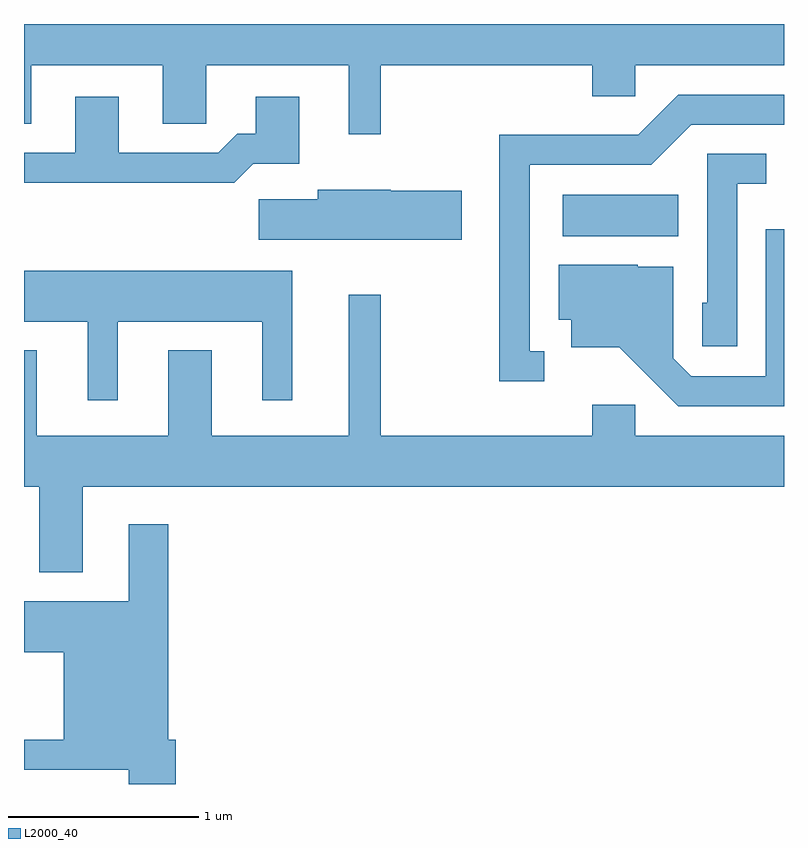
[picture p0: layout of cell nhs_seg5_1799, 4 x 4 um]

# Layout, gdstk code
import gdstk
lib = gdstk.Library(unit=1e-6, precision=1e-09)
def R(c, l, rs):  # rectangles x0, y0, x1, y1
    for r in rs: c.add(gdstk.rectangle(r[:2], r[2:], *l))
def P(c, l, *ps):  # polygons
    for p in ps: c.add(gdstk.Polygon(p, *l))
L2000_40 = (2000, 40)

nhs_seg5_1799 = lib.new_cell('nhs_seg5_1799')
R(nhs_seg5_1799, L2000_40, [(240.446,1506.956,241.054,1507.174)])
P(nhs_seg5_1799, L2000_40, [(239.489,1507.856),(240.601,1507.856),(240.601,1507.691),(240.829,1507.691),(240.829,1507.856),(241.611,1507.856),(241.611,1508.072),(237.611,1508.072),(237.611,1507.546),(237.649,1507.546),(237.649,1507.856),(238.341,1507.856),(238.341,1507.546),(238.569,1507.546),(238.569,1507.856),(239.321,1507.856),(239.321,1507.493),(239.489,1507.493)],
  [(240.348,1506.349),(240.274,1506.349),(240.274,1507.331),(240.912,1507.331),(241.122,1507.541),(241.611,1507.541),(241.611,1507.699),(241.054,1507.699),(240.844,1507.489),(240.111,1507.489),(240.111,1506.191),(240.348,1506.191)],
  [(238.817,1507.336),(239.059,1507.336),(239.059,1507.689),(238.831,1507.689),(238.831,1507.494),(238.734,1507.494),(238.634,1507.394),(238.109,1507.394),(238.109,1507.689),(237.881,1507.689),(237.881,1507.394),(237.611,1507.394),(237.611,1507.236),(238.717,1507.236)],
  [(241.364,1507.231),(241.518,1507.231),(241.518,1507.389),(241.206,1507.389),(241.206,1506.604),(241.181,1506.604),(241.181,1506.376),(241.364,1506.376)],
  [(239.914,1507.194),(239.54,1507.194),(239.54,1507.199),(239.156,1507.199),(239.156,1507.149),(238.846,1507.149),(238.846,1506.936),(239.914,1506.936)],
  [(241.611,1506.993),(241.516,1506.993),(241.516,1506.219),(241.122,1506.219),(241.029,1506.312),(241.029,1506.794),(240.84,1506.794),(240.84,1506.804),(240.426,1506.804),(240.426,1506.516),(240.491,1506.516),(240.491,1506.371),(240.744,1506.371),(241.054,1506.061),(241.611,1506.061)],
  [(238.104,1506.506),(238.866,1506.506),(238.866,1506.093),(239.024,1506.093),(239.024,1506.774),(237.611,1506.774),(237.611,1506.506),(237.946,1506.506),(237.946,1506.093),(238.104,1506.093)],
  [(237.919,1505.636),(241.611,1505.636),(241.611,1505.904),(240.829,1505.904),(240.829,1506.069),(240.601,1506.069),(240.601,1505.904),(239.489,1505.904),(239.489,1506.648),(239.321,1506.648),(239.321,1505.904),(238.599,1505.904),(238.599,1506.354),(238.371,1506.354),(238.371,1505.904),(237.679,1505.904),(237.679,1506.354),(237.611,1506.354),(237.611,1505.636),(237.691,1505.636),(237.691,1505.186),(237.919,1505.186)],
  [(238.409,1504.304),(238.369,1504.304),(238.369,1505.439),(238.161,1505.439),(238.161,1505.034),(237.611,1505.034),(237.611,1504.766),(237.821,1504.766),(237.821,1504.304),(237.611,1504.304),(237.611,1504.146),(238.161,1504.146),(238.161,1504.072),(238.409,1504.072)])

lib.write_gds('nhs_seg5_1799.gds')
